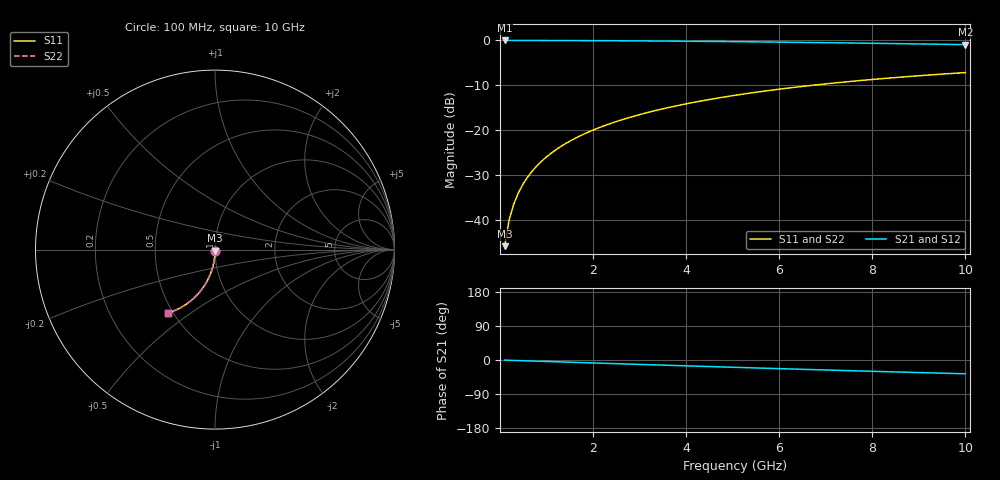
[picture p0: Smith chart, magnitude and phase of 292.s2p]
# Hz S RI R 50.00
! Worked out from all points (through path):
!   100 points, 100 MHz to 10 GHz, reference 50 ohm
!   highest |S21| = 0.00 dB at 100 MHz (marker M1); lowest = -0.9 dB at 10 GHz (marker M2)
!   group delay of S21, straight-line fit = 10.2 ps
!   lowest |S11| = -45.9 dB at 100 MHz (marker M3), VSWR 1.01, Z = 50 - j0.502 ohm
!   |S11| at or under -10 dB: start of sweep to 6.734 GHz
!   |S22| runs from -45.9 to -7.2 dB; largest |S21 - S12| = 0
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1e8  0.000495 -0.00502  0.9994 -0.0068  0.9994 -0.0068  0.000495 -0.00502
2e8  0.000391 -0.01  0.9993 -0.0136  0.9993 -0.0136  0.000391 -0.01
3e8  0.000217 -0.015  0.9991 -0.0204  0.9991 -0.0204  0.000217 -0.015
4e8  -2.47e-05 -0.0201  0.9989 -0.0272  0.9989 -0.0272  -2.47e-05 -0.0201
5e8  -0.000335 -0.0251  0.9985 -0.034  0.9985 -0.034  -0.000335 -0.0251
6e8  -0.000714 -0.0301  0.9981 -0.0407  0.9981 -0.0407  -0.000714 -0.0301
7e8  -0.00116 -0.0351  0.9977 -0.0475  0.9977 -0.0475  -0.00116 -0.0351
8e8  -0.00167 -0.04  0.9971 -0.0543  0.9971 -0.0543  -0.00167 -0.04
9e8  -0.00226 -0.045  0.9965 -0.061  0.9965 -0.061  -0.00226 -0.045
1.1e9  -0.00362 -0.0549  0.9951 -0.0745  0.9951 -0.0745  -0.00362 -0.0549
1.4e9  -0.00617 -0.0697  0.9924 -0.0947  0.9924 -0.0947  -0.00617 -0.0697
1.8e9  -0.0105 -0.0892  0.9879 -0.1213  0.9879 -0.1213  -0.0105 -0.0892
2.1e9  -0.0144 -0.1036  0.9838 -0.141  0.9838 -0.141  -0.0144 -0.1036
2.5e9  -0.0205 -0.1225  0.9774 -0.1671  0.9774 -0.1671  -0.0205 -0.1225
2.9e9  -0.0276 -0.1409  0.9699 -0.1926  0.9699 -0.1926  -0.0276 -0.1409
3.4e9  -0.0377 -0.1633  0.9593 -0.2239  0.9593 -0.2239  -0.0377 -0.1633
4.2e9  -0.0568 -0.1971  0.9392 -0.2722  0.9392 -0.2722  -0.0568 -0.1971
5.1e9  -0.0819 -0.2321  0.9128 -0.3233  0.9128 -0.3233  -0.0819 -0.2321
5.9e9  -0.107 -0.26  0.8862 -0.3657  0.8862 -0.3657  -0.107 -0.26
6.7e9  -0.1342 -0.2848  0.8573 -0.405  0.8573 -0.405  -0.1342 -0.2848
8.4e9  -0.1972 -0.3265  0.7901 -0.4777  0.7901 -0.4777  -0.1972 -0.3265
1e10  -0.2596 -0.3522  0.7227 -0.533  0.7227 -0.533  -0.2596 -0.3522
